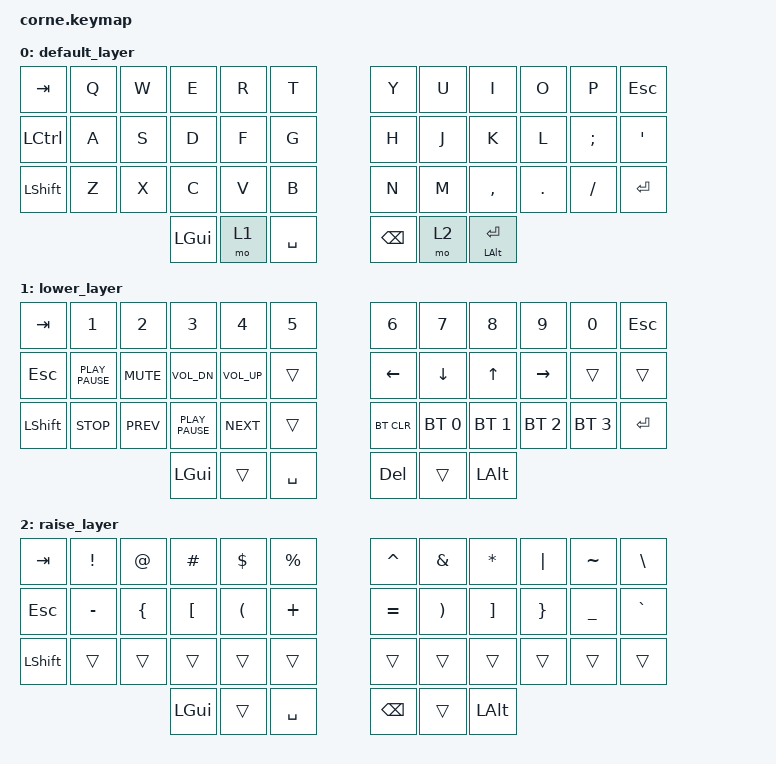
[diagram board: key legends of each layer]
/*
 * Copyright (c) 2020 The ZMK Contributors
 *
 * SPDX-License-Identifier: MIT
 */

#include <behaviors.dtsi>
#include <dt-bindings/zmk/bt.h>
#include <dt-bindings/zmk/keys.h>

/ {
    macros {
        hyper: hyper {
            compatible = "zmk,behavior-macro";
            #binding-cells = <0>;
            bindings =
                <&hyper>,
                <&macro_tap>,
                <&kp LEFT_CONTROL &kp LEFT_ALT &kp LCMD>;

            label = "HYPER";
        };
    };

    keymap {
        compatible = "zmk,keymap";

        default_layer {
            // -----------------------------------------------------------------------------------------
            // |  TAB |  Q  |  W  |  E  |  R  |  T  |   |  Y  |  U   |  I  |  O  |  P  | BKSP |
            // | CTRL |  A  |  S  |  D  |  F  |  G  |   |  H  |  J   |  K  |  L  |  ;  |  '   |
            // | SHFT |  Z  |  X  |  C  |  V  |  B  |   |  N  |  M   |  ,  |  .  |  /  | ESC  |
            //                    | GUI | LWR | SPC |   | ENT | RSE  | ALT |

            bindings = <
&kp TAB    &kp Q  &kp W  &kp E     &kp R  &kp T        &kp Y          &kp U  &kp I                &kp O    &kp P     &kp ESCAPE
&kp LCTRL  &kp A  &kp S  &kp D     &kp F  &kp G        &kp H          &kp J  &kp K                &kp L    &kp SEMI  &kp SQT
&kp LSHFT  &kp Z  &kp X  &kp C     &kp V  &kp B        &kp N          &kp M  &kp COMMA            &kp DOT  &kp FSLH  &kp RETURN
                         &kp LGUI  &mo 1  &kp SPACE    &kp BACKSPACE  &mo 2  &mt LEFT_ALT RETURN
            >;
        };

        lower_layer {
            // -----------------------------------------------------------------------------------------
            // |  TAB |  1  |  2  |  3  |  4  |  5  |   |  6  |  7  |  8  |  9  |  0  | BKSP |
            // | BTCLR| BT1 | BT2 | BT3 | BT4 | BT5 |   | LFT | DWN |  UP | RGT |     |      |
            // | SHFT |     |     |     |     |     |   |     |     |     |     |     |      |
            //                    | GUI |     | SPC |   | ENT |     | ALT |

            bindings = <
&kp TAB     &kp N1            &kp N2      &kp N3            &kp N4           &kp N5       &kp N6      &kp N7        &kp N8        &kp N9        &kp N0        &kp ESCAPE
&kp ESCAPE  &kp K_PLAY_PAUSE  &kp K_MUTE  &kp C_VOL_DN      &kp C_VOLUME_UP  &trans       &kp LEFT    &kp DOWN      &kp UP        &kp RIGHT     &trans        &trans
&kp LSHFT   &kp K_STOP        &kp K_PREV  &kp K_PLAY_PAUSE  &kp C_NEXT       &trans       &bt BT_CLR  &bt BT_SEL 0  &bt BT_SEL 1  &bt BT_SEL 2  &bt BT_SEL 3  &kp RETURN
                                          &kp LGUI          &trans           &kp SPACE    &kp DELETE  &trans        &kp LEFT_ALT
            >;
        };

        raise_layer {
            // -----------------------------------------------------------------------------------------
            // |  TAB |  !  |  @  |  #  |  $  |  %  |   |  ^  |  &  |  *  |  (  |  )  | BKSP |
            // | CTRL |     |     |     |     |     |   |  -  |  =  |  [  |  ]  |  \  |  `   |
            // | SHFT |     |     |     |     |     |   |  _  |  +  |  {  |  }  | "|" |  ~   |
            //                    | GUI |     | SPC |   | ENT |     | ALT |

            bindings = <
&kp TAB     &kp EXCL   &kp AT          &kp HASH          &kp DLLR              &kp PRCNT    &kp CARET      &kp AMPS               &kp ASTRK          &kp PIPE         &kp TILDE       &kp BACKSLASH
&kp ESCAPE  &kp MINUS  &kp LEFT_BRACE  &kp LEFT_BRACKET  &kp LEFT_PARENTHESIS  &kp PLUS     &kp EQUAL      &kp RIGHT_PARENTHESIS  &kp RIGHT_BRACKET  &kp RIGHT_BRACE  &kp UNDERSCORE  &kp GRAVE
&kp LSHFT   &trans     &trans          &trans            &trans                &trans       &trans         &trans                 &trans             &trans           &trans          &trans
                                       &kp LGUI          &trans                &kp SPACE    &kp BACKSPACE  &trans                 &kp LEFT_ALT
            >;
        };
    };
};
